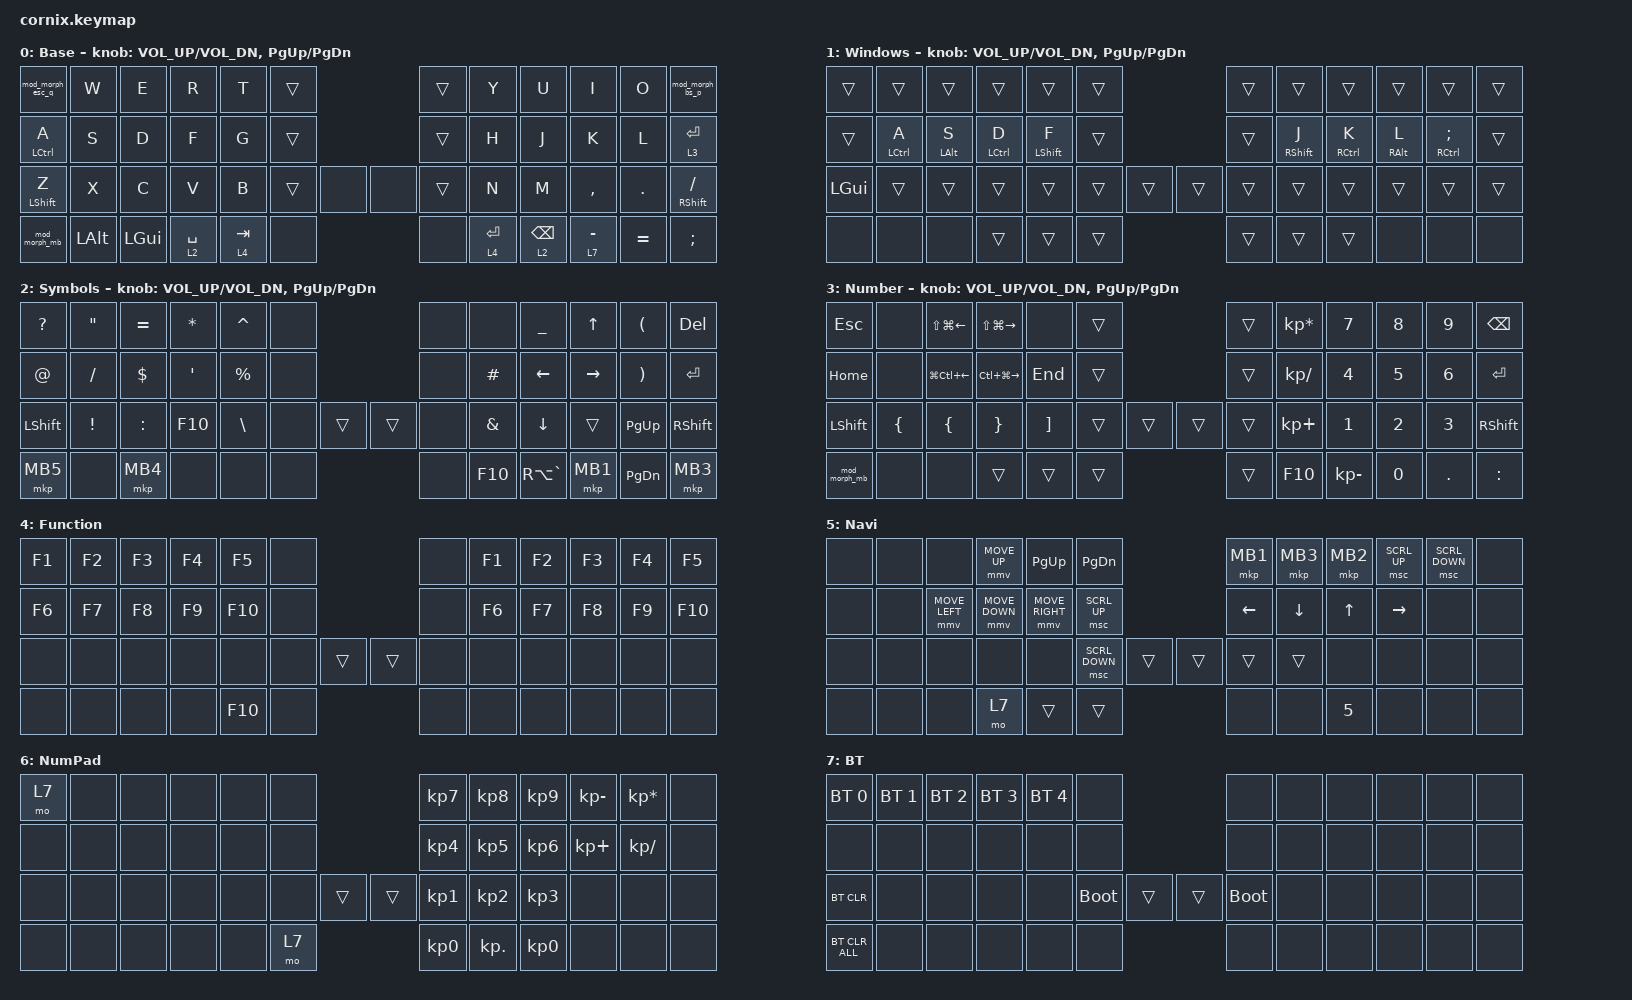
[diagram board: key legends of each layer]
/*
 * Copyright (c) 2020 The ZMK Contributors
 *
 * SPDX-License-Identifier: MIT
 */

#include "zmk-helpers/helper.h"
#include "includes/cornix54.h"

// tap windows for ctl alt and gui

#define HM_TAPPING_TERM 250
#define HM_TAPPING_REPEAT 210

// quick tapping for shift

#define HM_TAPPING_TERM_FAST 200
#define HM_PRIOR_IDLE 70
#define BASE 0
#define WIN 1
#define LOWER 2
#define RAISE 3
#define ADJUST 4
#define NAVI   5
#define NUM    6
#define DEBUG  7

// https://github.com/urob/zmk-config/tree/main#timeless-homerow-mods

#define KEYS_L LT0 LT1 LT2 LT3 LT4 LT5 LM0 LM1 LM2 LM3 LM4 LM5 LB0 LB1 LB2 LB3 LB4 LB5  // left hand
#define KEYS_R RT0 RT1 RT2 RT3 RT4 RT5 RM0 RM1 RM2 RM3 RM4 RM5 RB0 RB1 RB2 RB3 RB4 RB5  // right hand
#define THUMBS LH1 LH0 RH0 RH1
#define KEYS_T LH1 LH0 RH0 RH1
#define ZMK_POINTING_DEFAULT_SCRL_VAL 15

#include <behaviors.dtsi>
#include <dt-bindings/zmk/bt.h>
#include <dt-bindings/zmk/keys.h>
#include <dt-bindings/zmk/pointing.h>

/ {
    // Activate ADJUST layer by pressing raise and lower

    behaviors {
        hm_l: homerow_mods_left {
            compatible = "zmk,behavior-hold-tap";
            #binding-cells = <2>;
            bindings = <&kp>, <&kp>;

            flavor = "balanced";
            tapping-term-ms = <HM_TAPPING_TERM>;
            quick-tap-ms = <200>;                // repeat on tap-into-hold
            require-prior-idle-ms = <HM_PRIOR_IDLE>;
            hold-trigger-key-positions = <KEYS_R KEYS_T>;
            hold-trigger-on-release;
        };

        hm_r: homerow_mods_right {
            compatible = "zmk,behavior-hold-tap";
            #binding-cells = <2>;
            bindings = <&kp>, <&kp>;

            flavor = "balanced";
            tapping-term-ms = <HM_TAPPING_TERM>;
            quick-tap-ms = <200>;
            require-prior-idle-ms = <HM_PRIOR_IDLE>;
            hold-trigger-key-positions = <KEYS_L KEYS_T>;
            hold-trigger-on-release;
        };

        // Positional Homerow mods for shift
        // Use faster tapping term and disable some features that may
        // cause false negatives.

        hm_shift_l: hm_shift_l {
            compatible = "zmk,behavior-hold-tap";
            #binding-cells = <2>;
            bindings = <&kp>, <&kp>;

            //flavor = "balanced";

            flavor = "balanced";
            tapping-term-ms = <HM_TAPPING_TERM_FAST>;
            quick-tap-ms = <200>;
            require-prior-idle-ms = <HM_PRIOR_IDLE>;
            hold-trigger-key-positions = <KEYS_R KEYS_T>;
            hold-trigger-on-release;
        };

        hm_shift_r: hm_shift_r {
            compatible = "zmk,behavior-hold-tap";
            #binding-cells = <2>;
            bindings = <&kp>, <&kp>;

            flavor = "balanced";
            tapping-term-ms = <HM_TAPPING_TERM_FAST>;
            quick-tap-ms = <200>;
            require-prior-idle-ms = <HM_PRIOR_IDLE>;
            hold-trigger-key-positions = <KEYS_L KEYS_T>;

            // for quick tapping; shift+~

            hold-trigger-on-release;
        };

        /*
         * Non-Positional Homerow Mods
         * Used for &mm_grescm_gui behavior on left hand.
         *
         * Usage: &hm LSHFT T
         * Tap: T
         * Tap-Tap-Hold: Repeat T
         * Hold: LSHIFT
         */

        hm: homerow_mods {
            compatible = "zmk,behavior-hold-tap";
            #binding-cells = <2>;
            bindings = <&kp>, <&kp>;

            flavor = "balanced";
            tapping-term-ms = <HM_TAPPING_TERM>;
            quick-tap-ms = <200>;
        };

        lt: layer_tap {
            compatible = "zmk,behavior-hold-tap";
            #binding-cells = <2>;
            bindings = <&mo>, <&kp>;

            flavor = "hold-preferred";
            tapping-term-ms = <HM_TAPPING_TERM>;
            quick-tap-ms = <200>;
        };

        mod_morph_esc_q: mod_morph_esc_q_ {
            compatible = "zmk,behavior-mod-morph";
            label = "MOD_MORPH_TAB_ESC";
            bindings = <&kp ESCAPE>, <&kp Q>;

            #binding-cells = <0>;
            mods = <(MOD_RSFT)>;
        };

        mod_morph_semicolon_colon: mod_morph_semicolon_colon_ {
            compatible = "zmk,behavior-mod-morph";
            label = "MOD_MORPH_SEMICOLON_COLON";
            bindings = <&kp SEMI>, <&kp COLON>;

            #binding-cells = <0>;
            mods = <(MOD_RSFT)>;
        };

        mod_morph_bs_p: mod_morph_bs_p_ {
            compatible = "zmk,behavior-mod-morph";
            label = "MOD_MORPH_BS_P";
            bindings = <&kp BACKSPACE>, <&kp P>;

            #binding-cells = <0>;
            mods = <(MOD_LSFT)>;
        };

        td_a_ctrl: td_a_ctrl_ {
            compatible = "zmk,behavior-tap-dance";
            label = "TD_A_CTRL";
            #binding-cells = <0>;
            bindings = <&kp A>, <&kp LCTRL>;
        };

        hold_tap: hold_tap_ {
            compatible = "zmk,behavior-hold-tap";
            label = "HOLD_TAP";
            bindings = <&kp>, <&kp>;

            #binding-cells = <2>;
            tapping-term-ms = <200>;
            quick-tap-ms = <90>;
            require-prior-idle-ms = <90>;
            flavor = "balanced";
        };

        mod_morph_mb: mod_morph_mb_ {
            compatible = "zmk,behavior-mod-morph";
            label = "MOD_MORPH_MB";
            bindings = <&mkp MB1>, <&mkp MB3>;

            #binding-cells = <0>;
            mods = <(MOD_RSFT)>;
        };
    };

    conditional_layers { compatible = "zmk,conditional-layers"; };

    combos {
        compatible = "zmk,combos";

        q {
            bindings = <&kp Q>;
            key-positions = <0 1>;
        };

        p {
            bindings = <&kp P>;
            key-positions = <11 10>;
        };

        Control {
            bindings = <&kp RIGHT_CONTROL>;
            key-positions = <22 21>;
        };

        Window {
            bindings = <&kp RIGHT_CONTROL>;
            key-positions = <21 20>;
        };

        layer1 {
            bindings = <&mo 3>;
            key-positions = <42 13>;
        };

        LeftClick {
            bindings = <&mkp MB1>;
            key-positions = <15 14>;
        };

        layer3 {
            bindings = <&mo 3>;
            key-positions = <41 27>;
        };

        layer4 {
            bindings = <&mo 4>;
            key-positions = <41 15>;
        };

        RightClick {
            bindings = <&mkp MB2>;
            key-positions = <14 13>;
        };
    };

    keymap {
        compatible = "zmk,keymap";

        default_layer {
            display-name = "Base";

            // ------------------------------------------------------------------------------------------------------------
            // |   `   |  1  |  2  |  3   |  4   |  5   |                   |  6   |  7    |  8    |  9   |   0   |       |
            // |  ESC  |  Q  |  W  |  E   |  R   |  T   |                   |  Y   |  U    |  I    |  O   |   P   | BKSPC |
            // |  TAB  |  A  |  S  |  D   |  F   |  G   |                   |  H   |  J    |  K    |  L   |   ;   |   '   |
            // | SHIFT |  Z  |  X  |  C   |  V   |  B   |  MUTE  |  |       |  N   |  M    |  ,    |  .   |   /   | SHIFT |
            //               | GUI | ALT  | CTRL | LOWER|  ENTER |  | SPACE | RAISE| CTRL  | ALT   | GUI  |

            bindings = <
&mod_morph_esc_q        &kp W         &kp E         &kp R        &kp T      &trans                &trans  &kp Y        &kp U            &kp I        &kp O      &mod_morph_bs_p
&hold_tap LCTRL A       &kp S         &kp D         &kp F        &kp G      &trans                &trans  &kp H        &kp J            &kp K        &kp L      &lt 3 ENTER
&hold_tap LEFT_SHIFT Z  &kp X         &kp C         &kp V        &kp B      &trans  &none  &none  &trans  &kp N        &kp M            &kp COMMA    &kp DOT    &hold_tap RIGHT_SHIFT SLASH
&mod_morph_mb           &kp LEFT_ALT  &kp LEFT_GUI  &lt 2 SPACE  &lt 4 TAB  &none                 &none   &lt 4 ENTER  &lt 2 BACKSPACE  &lt 7 MINUS  &kp EQUAL  &kp SEMI
            >;

            sensor-bindings = <&inc_dec_kp C_VOL_UP C_VOL_DN &inc_dec_kp PG_UP PG_DN>;
        };

        win_layer {
            display-name = "Windows";

            // ------------------------------------------------------------------------------------------------------------
            // |   `   |  1  |  2  |  3   |  4   |  5   |                   |  6   |  7    |  8    |  9   |   0   |       |
            // |  ESC  |  Q  |  W  |  E   |  R   |  T   |                   |  Y   |  U    |  I    |  O   |   P   | BKSPC |
            // |  TAB  |  A  |  S  |  D   |  F   |  G   |                   |  H   |  J    |  K    |  L   |   ;   |   '   |
            // | SHIFT |  Z  |  X  |  C   |  V   |  B   |  MUTE  |  |       |  N   |  M    |  ,    |  .   |   /   | SHIFT |
            //               | GUI | ALT  | CTRL | LOWER|  ENTER |  | SPACE | RAISE| CTRL  | ALT   | GUI  |

            bindings = <
&trans    &trans         &trans        &trans         &trans               &trans                  &trans  &trans               &trans         &trans        &trans            &trans
&trans    &hm_l LCTRL A  &hm_l LALT S  &hm_l LCTRL D  &hm_shift_l LSHFT F  &trans                  &trans  &hm_shift_r RSHFT J  &hm_r RCTRL K  &hm_r RALT L  &hm_r RCTRL SEMI  &trans
&kp LGUI  &trans         &trans        &trans         &trans               &trans  &trans  &trans  &trans  &trans               &trans         &trans        &trans            &trans
&none     &none          &none         &trans         &trans               &trans                  &trans  &trans               &trans         &none         &none             &none
            >;

            sensor-bindings = <&inc_dec_kp C_VOL_UP C_VOL_DN &inc_dec_kp PG_UP PG_DN>;
        };

        Symbol_layer {
            display-name = "Symbols";

            // TODO: Some binds are waiting for shifted keycode support.
            // -------------------------------
            // |       |  F1 |  F2 |  F3  |  F4  |  F5  |                   |  F6  |  F7   |  F8   |  F9  |  F10  |  F11  |
            // |   `   |  1  |  2  |  3   |  4   |  5   |                   |  6   |  7    |  8    |  9   |   0   |  F12  |
            // |       |  !  |  @  |  #   |  $   |  %   |                   |  ^   |  &    |  *    |  (   |   )   |   |   |
            // |       |  =  |  -  |  +   |  {   |  }   |        |  |       |  [   |  ]    |  ;    |  :   |   \   |       |
            //               |     |      |      |      |        |  |       |      |       |       |      |

            bindings = <
&kp QUESTION    &kp DOUBLE_QUOTES  &kp EQUAL   &kp ASTERISK  &kp CARET      &none                  &none  &none     &kp UNDER       &kp UP_ARROW     &kp LEFT_PARENTHESIS   &kp DELETE
&kp AT_SIGN     &kp SLASH          &kp DOLLAR  &kp APOS      &kp PERCENT    &none                  &none  &kp HASH  &kp LEFT_ARROW  &kp RIGHT_ARROW  &kp RIGHT_PARENTHESIS  &kp ENTER
&kp LEFT_SHIFT  &kp EXCLAMATION    &kp COLON   &kp F10       &kp BACKSLASH  &none  &trans  &trans  &none  &kp AMPS  &kp DOWN_ARROW  &trans           &kp PG_UP              &kp RIGHT_SHIFT
&mkp MB5        &none              &mkp MB4    &none         &none          &none                  &none  &kp F10   &kp RA(GRAVE)   &mkp MB1         &kp PG_DN              &mkp MB3
            >;

            sensor-bindings = <&inc_dec_kp C_VOL_UP C_VOL_DN &inc_dec_kp PG_UP PG_DN>;
        };

        Number_layer {
            display-name = "Number";

            // ------------------------------------------------------------------------------------------------------------
            // | BTCLR | BT1  | BT2  |  BT3  |  BT4  |  BT5 |                |      |      |       |      |       |       |
            // |       | INS  | PSCR | GUI   |       |      |                | PGUP |      |   ^   |      |       |       |
            // |       | ALT  | CTRL | SHIFT |       | CAPS |                | PGDN |   <- |   v   |  ->  |  DEL  | BKSPC |
            // |       | UNDO | CUT  | COPY  | PASTE |      |      |  |      |      |      |       |      |       |       |
            //                |      |       |       |      |      |  |      |      |      |       |      |

            bindings = <
&kp ESCAPE      &none           &kp LS(LG(LEFT))        &kp LS(LG(RIGHT_ARROW))  &none              &trans                  &trans  &kp KP_MULTIPLY  &kp NUMBER_7  &kp NUMBER_8  &kp NUMBER_9  &kp BACKSPACE
&kp HOME        &none           &kp LG(LC(LEFT_ARROW))  &kp LC(LG(RIGHT_ARROW))  &kp END            &trans                  &trans  &kp KP_DIVIDE    &kp NUMBER_4  &kp NUMBER_5  &kp NUMBER_6  &kp ENTER
&kp LEFT_SHIFT  &kp LEFT_BRACE  &kp LEFT_BRACE          &kp RIGHT_BRACE          &kp RIGHT_BRACKET  &trans  &trans  &trans  &trans  &kp KP_PLUS      &kp NUMBER_1  &kp NUMBER_2  &kp NUMBER_3  &kp RIGHT_SHIFT
&mod_morph_mb   &none           &none                   &trans                   &trans             &trans                  &trans  &kp F10          &kp KP_MINUS  &kp NUMBER_0  &kp PERIOD    &kp COLON
            >;

            sensor-bindings = <&inc_dec_kp C_VOL_UP C_VOL_DN &inc_dec_kp PG_UP PG_DN>;
        };

        Function_layer {
            display-name = "Function";

            // ----------------------------------------------------------------------------------------------------------------------------
            // | BTCLR  |  BT1    |  BT2    |   BT3   |   BT4   |   BT5   |                  |      |      |       |      |       |       |
            // | moDEBUG| RGB_HUD | RGB_HUI | RGB_SAD | RGB_SAI | RGB_EFF |                  |      |      |       |      |       |       |
            // | EXTPWR | RGB_BRD | RGB_BRI |         |         |         |                  |      |      |       |      |       |       |
            // |        |         |         |         |         |         | RGB_TOG | |      |      |      |       |      |       |       |
            //                    |         |         |         |         |         | |      |      |      |       |      |

            bindings = <
&kp F1  &kp F2  &kp F3  &kp F4  &kp F5   &none                  &none  &kp F1  &kp F2  &kp F3  &kp F4  &kp F5
&kp F6  &kp F7  &kp F8  &kp F9  &kp F10  &none                  &none  &kp F6  &kp F7  &kp F8  &kp F9  &kp F10
&none   &none   &none   &none   &none    &none  &trans  &trans  &none  &none   &none   &none   &none   &none
&none   &none   &none   &none   &kp F10  &none                  &none  &none   &none   &none   &none   &none
            >;
        };

        Navi_layer {
            display-name = "Navi";
            bindings = <
&none  &none  &none           &mmv MOVE_UP    &kp PAGE_UP      &kp PAGE_DOWN                   &mkp MB1  &mkp MB3  &mkp MB2  &msc SCRL_UP  &msc SCRL_DOWN  &none
&none  &none  &mmv MOVE_LEFT  &mmv MOVE_DOWN  &mmv MOVE_RIGHT  &msc SCRL_UP                    &kp LEFT  &kp DOWN  &kp UP    &kp RIGHT     &none           &none
&none  &none  &none           &none           &none            &msc SCRL_DOWN  &trans  &trans  &trans    &trans    &none     &none         &none           &none
&none  &none  &none           &mo 7           &trans           &trans                          &none     &none     &kp N5    &none         &none           &none
            >;
        };

        KeyPad_layer {
            display-name = "NumPad";
            bindings = <
&mo 7  &none  &none  &none  &none  &none                  &kp KP_N7        &kp KP_N8        &kp KP_N9        &kp KP_MINUS  &kp KP_MULTIPLY  &none
&none  &none  &none  &none  &none  &none                  &kp KP_NUMBER_4  &kp KP_NUMBER_5  &kp KP_N6        &kp KP_PLUS   &kp KP_DIVIDE    &none
&none  &none  &none  &none  &none  &none  &trans  &trans  &kp KP_NUMBER_1  &kp KP_NUMBER_2  &kp KP_N3        &none         &none            &none
&none  &none  &none  &none  &none  &mo 7                  &kp KP_N0        &kp KP_DOT       &kp KP_NUMBER_0  &none         &none            &none
            >;
        };

        Bluetooth_layer {
            display-name = "BT";

            // ----------------------------------------------------------------------------------------------------------------------------
            // | BTCLR  |  BT1    |  BT2    |   BT3   |   BT4   |   BT5   |                  |      |      |       |      |       |       |
            // | EXTPWR | BTCLR | RGB_HUI | RGB_SAD | RGB_SAI | RGB_EFF |                  |      |      |       |      |       |       |
            // |        | RGB_BRD | RGB_BRI |         |         |         |                  |      |      |       |      |       |       |
            // |        |         |         |         |         |         | RGB_TOG | |      |      |      |       |      |       |       |
            //                    |         |         |         |         |         | |      |      |      |       |      |

            bindings = <
&bt BT_SEL 0    &bt BT_SEL 1  &bt BT_SEL 2  &bt BT_SEL 3  &bt BT_SEL 4  &none                        &none        &none  &none  &none  &none  &none
&none           &none         &none         &none         &none         &none                        &none        &none  &none  &none  &none  &none
&bt BT_CLR      &none         &none         &none         &none         &bootloader  &trans  &trans  &bootloader  &none  &none  &none  &none  &none
&bt BT_CLR_ALL  &none         &none         &none         &none         &none                        &none        &none  &none  &none  &none  &none
            >;
        };
    };
};
